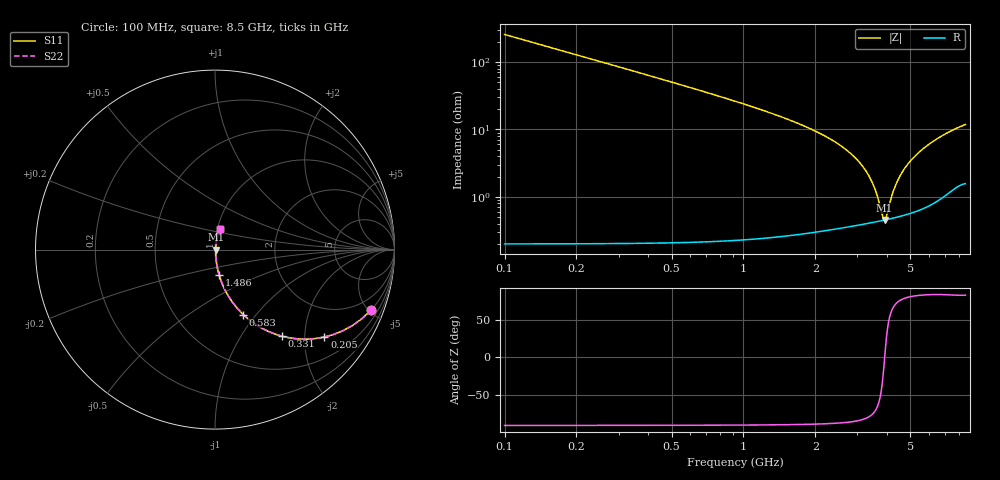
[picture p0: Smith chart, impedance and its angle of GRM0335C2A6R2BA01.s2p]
!Murata Part Number: GRM0335C2A6R2BA01
!These Parameters are Measured in Series Mode Connection
!Data Generated on Mar 30, 2021
!  o--ll--o
!Port1  Port2
!  o------o
!Operation Temp=25[degC], DC Bias Voltage=0[V]
!Freq. Start=100[MHz] Stop=9[GHz] 401[Steps]
# Hz S RI R 50
!Freq.(Hz) S11(Real) S11(Imag) S21(Real) S21(Imag) S12(Real) S12(Imag) S22(Real) S22(Imag)
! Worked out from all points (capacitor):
!   401 points, 100 MHz to 8.5 GHz, reference 50 ohm
!   read as one part in series: C = 6.2 pF near 142 MHz
!   lowest |Z| = 453 mohm at 3.901 GHz (marker M1)
!   series resonance near 3.902 GHz, so ESL is about 270 pH
!   S11 on the Smith chart (normalised r, x): 100 MHz: 1.00, -5.13; 205 MHz: 1.00, -2.50; 331 MHz: 1.00, -1.54; 583 MHz: 1.00, -0.86; 1.486 GHz: 1.01, -0.30; 8.5 GHz: 1.03, +0.23
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1e8  0.8679 -0.3382  0.1321 0.3382  0.1321 0.3382  0.8679 -0.3382
2.05e8  0.6091 -0.4871  0.3909 0.4871  0.3909 0.4871  0.6091 -0.4871
3.31e8  0.3725 -0.4821  0.6275 0.4821  0.6275 0.4821  0.3725 -0.4821
4.36e8  0.2533 -0.4332  0.7467 0.4332  0.7467 0.4332  0.2533 -0.4332
5.83e8  0.1575 -0.3618  0.8425 0.3618  0.8425 0.3618  0.1575 -0.3618
9.19e8  0.0668 -0.2455  0.9332 0.2455  0.9332 0.2455  0.0668 -0.2455
1.486e9  0.0237 -0.1436  0.9763 0.1436  0.9763 0.1436  0.0237 -0.1436
1.507e9  0.023 -0.1411  0.977 0.1411  0.977 0.1411  0.023 -0.1411
2.914e9  0.0052 -0.0386  0.9948 0.0386  0.9948 0.0386  0.0052 -0.0386
3.208e9  0.0046 -0.0258  0.9954 0.0258  0.9954 0.0258  0.0046 -0.0258
3.439e9  0.0044 -0.0166  0.9956 0.0166  0.9956 0.0166  0.0044 -0.0166
3.628e9  0.00437 -0.00956  0.9956 0.00956  0.9956 0.00956  0.00437 -0.00956
3.838e9  0.00446 -0.00218  0.9955 0.00218  0.9955 0.00218  0.00446 -0.00218
3.901e9  0.00451 -4.6e-05  0.9955 4.6e-05  0.9955 4.6e-05  0.00451 -4.6e-05
3.964e9  0.00457 0.00206  0.9954 -0.00206  0.9954 -0.00206  0.00457 0.00206
4.153e9  0.0048 0.00819  0.9952 -0.00819  0.9952 -0.00819  0.0048 0.00819
4.3e9  0.00504 0.0128  0.995 -0.0128  0.995 -0.0128  0.00504 0.0128
4.531e9  0.0055 0.0198  0.9945 -0.0198  0.9945 -0.0198  0.0055 0.0198
4.846e9  0.00629 0.0288  0.9937 -0.0288  0.9937 -0.0288  0.00629 0.0288
5.707e9  0.00944 0.0518  0.9906 -0.0518  0.9906 -0.0518  0.00944 0.0518
7.114e9  0.0181 0.0853  0.9819 -0.0853  0.9819 -0.0853  0.0181 0.0853
8.5e9  0.0284 0.1123  0.9716 -0.1123  0.9716 -0.1123  0.0284 0.1123
